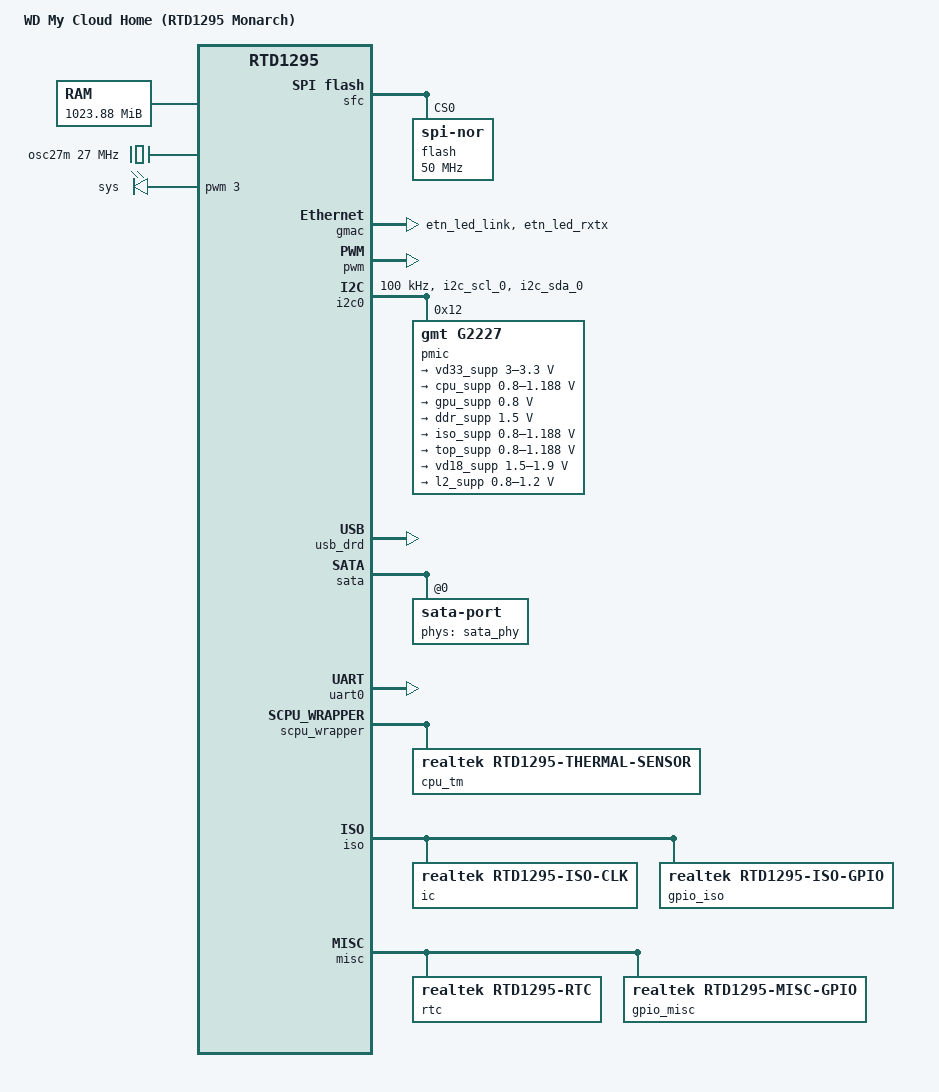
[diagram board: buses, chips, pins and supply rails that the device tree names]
// SPDX-License-Identifier: (GPL-2.0-or-later OR BSD-2-Clause)
/*
 * Western Digital My Cloud Home (single bay) / "Monarch" board
 *
 * Realtek RTD1295 SoC, 1 GiB DDR.
 *
 * Bring-up device tree for the mainline RTD1295 support, derived from the
 * Realtek 4.9 vendor board file (rtd-1295-monarch-1GB.dts). Only the pieces
 * required for a serial console and an externally loaded initramfs are
 * described here; further peripherals are added incrementally.
 *
 * The vendor U-Boot loads:
 *   - the kernel Image at physical 0x00280000 (Image text_offset),
 *   - the ramdisk (rescue.root.sata.cpio.gz_pad.img) at 0x02200000,
 *   - the dtb at a fixed address.
 */

/dts-v1/;

#include <dt-bindings/clock/rtd1295-clk.h>
#include <dt-bindings/reset/realtek,rtd1295.h>
#include <dt-bindings/regulator/gmt,g22xx.h>
#include <dt-bindings/thermal/thermal.h>
#include "rtd1295.dtsi"

/ {
	compatible = "wd,monarch", "realtek,rtd1295";
	model = "WD My Cloud Home (RTD1295 Monarch)";

	aliases {
		serial0 = &uart0;
	};

	chosen {
		stdout-path = "serial0:115200n8";
		/*
		 * earlycon uses the dw-apb UART0 at 0x98007800 (8250 compatible,
		 * 32-bit mmio). ignore_loglevel + loglevel=8 raise the debug
		 * level for bring-up; printk.time=1 keeps boot timestamps in
		 * dmesg.
		 */
		bootargs = "earlycon=uart8250,mmio32,0x98007800 console=ttyS0,115200n8 loglevel=8 ignore_loglevel printk.time=1 init=/init";

		/* Ramdisk loaded by U-Boot to 0x02200000, 4 MiB window. */
		linux,initrd-start = <0x02200000>;
		linux,initrd-end   = <0x02600000>;
	};

	/* 1 GiB, boot ROM (below 0x1f000) excluded from usable RAM. */
	memory@1f000 {
		device_type = "memory";
		reg = <0x1f000 0x3ffe1000>;
	};

	/*
	 * 27 MHz crystal. The ISO I2C controllers are clocked directly from
	 * this oscillator (the CCU only provides an enable gate with no rate),
	 * so the DesignWare driver reads the SCL timing source from here.
	 */
	osc27m: osc27m {
		compatible = "fixed-clock";
		#clock-cells = <0>;
		clock-frequency = <27000000>;
		clock-output-names = "osc27m";
	};

	/* Front-panel system LED, driven by PWM channel 3 (~10 kHz). */
	leds {
		compatible = "pwm-leds";

		led-sys {
			label = "sys";
			pwms = <&pwm 3 100000>;
			max-brightness = <255>;
			linux,default-trigger = "heartbeat";
		};
	};
};

/*
 * Realtek RTD129x interrupt mux. Demultiplexes the MISC (GIC SPI 40) and ISO
 * (GIC SPI 41) interrupt groups. The register windows live inside the misc
 * (0x9801b000) and iso (0x98007000) syscon blocks.
 *
 * The mux now masks all sub-interrupts at probe (the driver clears the
 * hardware enable registers), so bootloader-enabled sources no longer storm
 * the chained parent IRQ. It is needed as the interrupt parent for the GPIO
 * controllers. The ttyS0 console is deliberately *not* routed through it (it
 * stays in polled mode) to avoid the dw-apb UART interrupt-ack problem.
 */
&rbus {
	mux_intc: interrupt-controller@1b000 {
		compatible = "Realtek,rtk-irq-mux";
		reg = <0x1b000 0x100>,	/* MISC */
		      <0x7000 0x100>;	/* ISO */
		Realtek,mux-nr = <2>;
		interrupt-controller;
		#interrupt-cells = <2>;
		interrupt-parent = <&gic>;
		interrupts = <GIC_SPI 40 IRQ_TYPE_LEVEL_HIGH>,
			     <GIC_SPI 41 IRQ_TYPE_LEVEL_HIGH>;
		intr-status = <0xc>, <0x0>;
		intr-en = <0x80>, <0x40>;
		status = "okay";
	};
};

&uart0 {
	/*
	 * Interrupt-driven console, replicating the vendor 4.9 path: UART0 is
	 * ISO interrupt-mux group 1, bit 2. The earlier mux handler bugs (RVD
	 * always-service, whole-word force-ack) that made this storm are fixed,
	 * and the 8250_dw driver clears the dw-apb busy-detect interrupt, so the
	 * console can leave polled mode. (The vendor's extra "interrupts-st-mask"
	 * property is not needed: the mainline mux maps the status bit itself.)
	 */
	interrupt-parent = <&mux_intc>;
	interrupts = <1 2>;
	status = "okay";
};

/*
 * Secondary CPU bring-up. The RTD1295 vendor firmware/U-Boot parks cores 1-3
 * spinning on a 32-bit release register in the SB2 block (0x9801aa44); release
 * them with the Realtek spin-table variant. Without this only CPU0 comes up.
 *
 * All four cores share the SCPU PLL (cc RTD1295_CRT_PLL_SCPU, a settable
 * clk_pll_div) and the g2227 dc2 rail (cpu_supp), so they form a single
 * cpufreq policy (opp-shared) driven by cpufreq-dt against cpu_opps.
 */
&cpu0 {
	enable-method = "rtk-spin-table";
	cpu-release-addr = <0x0 0x9801aa44>;
	clocks = <&cc RTD1295_CRT_PLL_SCPU>;
	operating-points-v2 = <&cpu_opps>;
	cpu-supply = <&cpu_supp>;
	/* cpufreq cooling device for the thermal zone (opp-shared: cpu0 master) */
	#cooling-cells = <2>;
};

&cpu1 {
	enable-method = "rtk-spin-table";
	cpu-release-addr = <0x0 0x9801aa44>;
	clocks = <&cc RTD1295_CRT_PLL_SCPU>;
	operating-points-v2 = <&cpu_opps>;
	cpu-supply = <&cpu_supp>;
};

&cpu2 {
	enable-method = "rtk-spin-table";
	cpu-release-addr = <0x0 0x9801aa44>;
	clocks = <&cc RTD1295_CRT_PLL_SCPU>;
	operating-points-v2 = <&cpu_opps>;
	cpu-supply = <&cpu_supp>;
};

&cpu3 {
	enable-method = "rtk-spin-table";
	cpu-release-addr = <0x0 0x9801aa44>;
	clocks = <&cc RTD1295_CRT_PLL_SCPU>;
	operating-points-v2 = <&cpu_opps>;
	cpu-supply = <&cpu_supp>;
};

/*
 * CPU operating points for DVFS. Frequencies/voltages mirror the vendor
 * rtd-129x-dvfs-v1p0.dtsi (enabled points only); the SCPU PLL realises each
 * via PLL freq x post-divider (e.g. 900 MHz = 1800/2, 300 MHz = 1200/4) and
 * the voltages all fall on g2227 dc2's 12.5 mV grid.
 */
&{/} {
	cpu_opps: opp-table-cpu {
		compatible = "operating-points-v2";
		opp-shared;

		opp-300000000 {
			opp-hz = /bits/ 64 <300000000>;
			opp-microvolt = <800000>;
			clock-latency-ns = <150000>;
		};
		opp-500000000 {
			opp-hz = /bits/ 64 <500000000>;
			opp-microvolt = <800000>;
			clock-latency-ns = <150000>;
		};
		opp-600000000 {
			opp-hz = /bits/ 64 <600000000>;
			opp-microvolt = <825000>;
			clock-latency-ns = <150000>;
		};
		opp-700000000 {
			opp-hz = /bits/ 64 <700000000>;
			opp-microvolt = <850000>;
			clock-latency-ns = <150000>;
		};
		opp-800000000 {
			opp-hz = /bits/ 64 <800000000>;
			opp-microvolt = <875000>;
			clock-latency-ns = <150000>;
		};
		opp-900000000 {
			opp-hz = /bits/ 64 <900000000>;
			opp-microvolt = <900000>;
			clock-latency-ns = <150000>;
		};
		opp-1000000000 {
			opp-hz = /bits/ 64 <1000000000>;
			opp-microvolt = <925000>;
			clock-latency-ns = <150000>;
		};
		opp-1100000000 {
			opp-hz = /bits/ 64 <1100000000>;
			opp-microvolt = <962500>;
			clock-latency-ns = <150000>;
		};
		opp-1200000000 {
			opp-hz = /bits/ 64 <1200000000>;
			opp-microvolt = <1012500>;
			clock-latency-ns = <150000>;
			opp-suspend;
		};
		opp-1300000000 {
			opp-hz = /bits/ 64 <1300000000>;
			opp-microvolt = <1062500>;
			clock-latency-ns = <150000>;
		};
		opp-1400000000 {
			opp-hz = /bits/ 64 <1400000000>;
			opp-microvolt = <1100000>;
			clock-latency-ns = <150000>;
		};
	};
};

/*
 * On-SoC thermal sensor (in the SCPU wrapper at 0x9801d150) and the CPU
 * thermal zone. Two passive trips throttle the CPU through the OPP table via
 * the cpufreq cooling device; the critical trip triggers an orderly shutdown.
 * Trip temperatures mirror the vendor rtd-129x-dvfs-v1p0.dtsi.
 */
&scpu_wrapper {
	cpu_tm: thermal-sensor@150 {
		compatible = "realtek,rtd1295-thermal-sensor";
		reg = <0x150 0x20>;
		#thermal-sensor-cells = <0>;
	};
};

&{/} {
	thermal-zones {
		cpu-thermal {
			polling-delay-passive = <250>;
			polling-delay = <1000>;
			thermal-sensors = <&cpu_tm>;

			trips {
				cpu_alert0: cpu-alert0 {
					temperature = <105000>;
					hysteresis = <3000>;
					type = "passive";
				};
				cpu_alert1: cpu-alert1 {
					temperature = <115000>;
					hysteresis = <3000>;
					type = "passive";
				};
				cpu_crit: cpu-crit {
					temperature = <130000>;
					hysteresis = <2000>;
					type = "critical";
				};
			};

			cooling-maps {
				map0 {
					trip = <&cpu_alert0>;
					cooling-device = <&cpu0 THERMAL_NO_LIMIT THERMAL_NO_LIMIT>;
				};
				map1 {
					trip = <&cpu_alert1>;
					cooling-device = <&cpu0 THERMAL_NO_LIMIT THERMAL_NO_LIMIT>;
				};
			};
		};
	};
};

/*
 * Realtek RTD1295 clock controllers. The CRT (cc) and ISO (ic) controllers
 * live inside the crt (0x98000000) and iso (0x98007000) syscon blocks and
 * provide the gate/PLL clocks for the SoC peripherals. They each also expose
 * an embedded reset controller, but peripherals use the existing reset-simple
 * controllers from rtd129x.dtsi, so these reset providers stay unreferenced.
 *
 * realtek,sb2-lock is intentionally omitted: the SB2 hardware semaphore is
 * only needed to coordinate register access with the (currently idle) audio/
 * video co-processors.
 */
&crt {
	cc: clock-controller {
		compatible = "realtek,rtd1295-crt-clk";
		#clock-cells = <1>;
		#reset-cells = <1>;
	};

	/*
	 * Power-domain controller for the video engines, Mali GPU and NAT
	 * accelerator. None of those blocks has a driver on this NAS, so the
	 * genpd core powers the (unused) domains down at boot, isolating each
	 * island before cutting its SRAM power. This is the safe way to shed
	 * the GPU/VE leakage; cutting the external GPU rail (g2227 dc3)
	 * directly instead hangs the SoC interconnect.
	 */
	pd: power-controller {
		compatible = "realtek,rtd1295-power";
		#power-domain-cells = <1>;
	};
};

&iso {
	ic: clock-controller {
		compatible = "realtek,rtd1295-iso-clk";
		#clock-cells = <1>;
		#reset-cells = <1>;
	};
};

/*
 * Serial Flash Controller for the boot SPI-NOR (holds U-Boot / BL31). Exposed
 * as an spi-mem controller so the generic spi-nor core drives the chip; the
 * flash shows up as an MTD device (e.g. to read the U-Boot environment). The
 * controller drives the flash through a memory-mapped window, so writes to the
 * boot flash are possible - treat the MTD device with care.
 */
&rbus {
	sfc: spi@1a800 {
		compatible = "realtek,rtd1295-sfc";
		reg = <0x1a800 0x50>;
		#address-cells = <1>;
		#size-cells = <0>;

		flash@0 {
			compatible = "jedec,spi-nor";
			reg = <0>;
			spi-max-frequency = <50000000>;
		};
	};
};

/*
 * The remaining RTD1295 pad-mux banks. Each lives in its own register
 * window so it is a separate pinctrl-rtd instance:
 *   SB2  @0x9801a000 (sb2 syscon)  - MISC GPIOs, i2c2-5, SPI, RGMII, TP...
 *   CR   @0x98012000               - SD/eMMC/NAND/SDIO/PCIe pads
 *   DISP @0x9804d000               - audio in/out, SPDIF, DMIC pads
 * They are added for completeness; no consumer wires them yet, so the
 * driver just registers the mux capability (no register access at probe).
 */
&sb2 {
	pinctrl_sb2: pinctrl@0 {
		compatible = "realtek,rtd1295-sb2-pinctrl";
		reg = <0x0 0x97c>;
	};
};

&rbus {
	pinctrl_cr: pinctrl@12000 {
		compatible = "realtek,rtd1295-cr-pinctrl";
		reg = <0x12000 0x640>;
	};

	pinctrl_disp: pinctrl@4d000 {
		compatible = "realtek,rtd1295-disp-pinctrl";
		reg = <0x4d000 0x10>;
	};
};

/* RTC lives in the misc syscon block (0x9801b600). */
&misc {
	rtc: rtc@600 {
		compatible = "realtek,rtd1295-rtc";
		reg = <0x600 0x34>;
		clocks = <&cc RTD1295_CRT_CLK_EN_MISC_RTC>;
	};

	/*
	 * MISC GPIO bank (101 lines). reg[0] = GPIO data registers (0x9801b100),
	 * reg[1] = GPIO interrupt registers (0x9801b000, shared with the misc
	 * syscon/mux window - mapped non-exclusively by the driver). The
	 * assert/deassert interrupts are MISC mux group 0 bits 19 (GPIOA) and
	 * 20 (GPIODA). The ISO bank is added separately once this is validated.
	 */
	gpio_misc: gpio@100 {
		compatible = "realtek,rtd1295-misc-gpio";
		reg = <0x100 0x100>, <0x0 0x100>;
		interrupt-parent = <&mux_intc>;
		interrupts = <0 19>, <0 20>;
		gpio-controller;
		#gpio-cells = <2>;
		interrupt-controller;
		#interrupt-cells = <2>;
	};
};

/*
 * ISO GPIO bank (35 lines, gpio base 101). reg[0] = GPIO data registers
 * (0x98007100), reg[1] = GPIO interrupt registers (0x98007000). reg[1] is
 * the base of the ISO syscon and overlaps iso_reset@88 and the UART reset
 * line; the gpio-rtd driver maps it non-exclusively so they coexist.
 * Interrupts are ISO mux group 1 bits 19 (GPIOA) and 20 (GPIODA).
 */
&iso {
	/*
	 * ISO pad mux controller. The RTD1295 pin mux/config registers for
	 * the ISO bank live at 0x98007300..0x98007320; map the start of the
	 * ISO block (reg 0x0) so the driver's mux offsets (0x310/0x314/0x31c)
	 * are used verbatim. Non-exclusive of_iomap, so it coexists with the
	 * other ISO-window consumers.
	 */
	pinctrl: pinctrl@0 {
		compatible = "realtek,rtd1295-iso-pinctrl";
		reg = <0x0 0x400>;

		i2c0_pins: i2c0-pins {
			function = "i2c0";
			groups = "i2c_scl_0", "i2c_sda_0";
		};

		/*
		 * Ethernet activity/link LEDs. The MAC drives two LED outputs
		 * (etn_led_link, etn_led_rxtx) but the pads default to GPIO, so
		 * only one physical LED lit up. Mux both to the etn_led function
		 * (matching the vendor etn_led_pins group) so the MAC LEDSEL
		 * config reaches the front-panel LEDs.
		 */
		etn_led_pins: etn-led-pins {
			function = "etn_led";
			groups = "etn_led_link", "etn_led_rxtx";
		};
	};

	gpio_iso: gpio@100 {
		compatible = "realtek,rtd1295-iso-gpio";
		reg = <0x100 0x100>, <0x0 0x100>;
		interrupt-parent = <&mux_intc>;
		interrupts = <1 19>, <1 20>;
		gpio-controller;
		#gpio-cells = <2>;
		interrupt-controller;
		#interrupt-cells = <2>;
	};
};

/*
 * On-SoC gigabit Ethernet (RTL8169-derived MAC + embedded PHY).
 * reg[0] = MAC, reg[1] = ISO syscon (PHY/PLL control). IRQ is a direct GIC
 * SPI (not via the interrupt mux). Clocks/resets come from the ISO clock
 * controller. Monarch uses the on-chip PHY (output-mode 0).
 */
&rbus {
	gmac: ethernet@16000 {
		compatible = "realtek,rtd1295-gmac";
		reg = <0x16000 0x1000>,	/* MAC */
		      <0x7000 0x1000>;	/* ISO syscon */
		interrupt-parent = <&gic>;
		interrupts = <GIC_SPI 22 IRQ_TYPE_LEVEL_HIGH>;
		clocks = <&ic RTD1295_ISO_CLK_EN_ETN_SYS>,
			 <&ic RTD1295_ISO_CLK_EN_ETN_250M>;
		clock-names = "etn_sys", "etn_250m";
		/* ISO reset-simple controller (rtd129x.dtsi), bits GMAC=9 GPHY=10 */
		resets = <&iso_reset RTD1295_ISO_RSTN_GMAC>,
			 <&iso_reset RTD1295_ISO_RSTN_GPHY>;
		reset-names = "gmac", "gphy";
		pinctrl-names = "default";
		pinctrl-0 = <&etn_led_pins>;
		status = "okay";
	};

	/*
	 * PWM controller (4 channels), at 0x980070d0 within the ISO block.
	 * Channel 3 drives the front-panel system LED. The register window
	 * overlaps the non-exclusively-mapped ISO GPIO interrupt window, which
	 * is harmless.
	 */
	pwm: pwm@70d0 {
		compatible = "realtek,rtd1295-pwm";
		reg = <0x70d0 0xc>;
		#pwm-cells = <2>;
	};

	/*
	 * I2C bus 0 (ISO block, 0x98007d00). The RTD1295 I2C controller is a
	 * Synopsys DesignWare APB I2C, so the mainline i2c-designware driver
	 * drives it directly. The g2227 PMIC that controls the CPU/GPU/DDR
	 * rails hangs off this bus at 7-bit address 0x12; U-Boot already talks
	 * to it here, so the pads and the ISO i2c0 clock gate are left as the
	 * firmware set them. The functional clock is the 27 MHz crystal; the
	 * interrupt is ISO mux group 1, bit 8.
	 */
	i2c0: i2c@7d00 {
		compatible = "snps,designware-i2c";
		reg = <0x7d00 0x100>;
		interrupt-parent = <&mux_intc>;
		interrupts = <1 8>;
		clocks = <&osc27m>;
		clock-frequency = <100000>;
		resets = <&iso_reset RTD1295_ISO_RSTN_I2C_0>;
		pinctrl-names = "default";
		pinctrl-0 = <&i2c0_pins>;
		#address-cells = <1>;
		#size-cells = <0>;
		status = "okay";

		/*
		 * GMT G2227 PMIC. Supplies the SCPU (dc2), GPU (dc3), DDR
		 * (dc4) and other RTD1295 rails. All rails are marked
		 * always-on: firmware brings them up and several (vd33, ddr,
		 * iso, top) are critical, so the regulator core must not gate
		 * them as "unused". The cpu-supply/OPP wiring for DVFS is added
		 * in a later step; for now this just registers the regulators.
		 * Rail constraints mirror the vendor rtd-129x-dvfs-v1p0.dtsi.
		 */
		pmic: pmic@12 {
			compatible = "gmt,g2227";
			reg = <0x12>;

			regulators {
				compatible = "gmt,g2227-regulator";

				vd33_supp: dc1 {
					regulator-name = "vd33";
					regulator-min-microvolt = <3000000>;
					regulator-max-microvolt = <3300000>;
					regulator-boot-on;
					regulator-always-on;
					regulator-initial-mode = <G22XX_DC_MODE_FORCE_PWM>;
				};

				cpu_supp: dc2 {
					regulator-name = "cpudvs";
					regulator-min-microvolt = <800000>;
					regulator-max-microvolt = <1187500>;
					regulator-boot-on;
					regulator-always-on;
					regulator-initial-mode = <G22XX_DC_MODE_AUTO>;
				};

				gpu_supp: dc3 {
					regulator-name = "gpudvs";
					/*
					 * The GPU island is held powered-off via
					 * genpd, so nothing scales this rail.
					 * Pin it to the 0.8 V minimum (instead of
					 * the firmware default 1.0 V) to shave the
					 * isolated island's leakage. Keep it
					 * always-on: cutting dc3 outright halts the
					 * SoC.
					 */
					regulator-min-microvolt = <800000>;
					regulator-max-microvolt = <800000>;
					regulator-boot-on;
					regulator-always-on;
					regulator-initial-mode = <G22XX_DC_MODE_AUTO>;
					regulator-ramp-delay = <625>;
				};

				ddr_supp: dc4 {
					regulator-name = "ddr";
					regulator-min-microvolt = <1500000>;
					regulator-max-microvolt = <1500000>;
					regulator-boot-on;
					regulator-always-on;
					regulator-initial-mode = <G22XX_DC_MODE_AUTO>;
				};

				iso_supp: dc5 {
					regulator-name = "iso";
					regulator-min-microvolt = <800000>;
					regulator-max-microvolt = <1187500>;
					regulator-boot-on;
					regulator-always-on;
					regulator-initial-mode = <G22XX_DC_MODE_AUTO>;
				};

				top_supp: dc6 {
					regulator-name = "top";
					regulator-min-microvolt = <800000>;
					regulator-max-microvolt = <1187500>;
					regulator-boot-on;
					regulator-always-on;
					regulator-initial-mode = <G22XX_DC_MODE_AUTO>;
				};

				vd18_supp: ldo2 {
					regulator-name = "ldo2";
					regulator-min-microvolt = <1500000>;
					regulator-max-microvolt = <1900000>;
					regulator-boot-on;
					regulator-always-on;
					regulator-initial-mode = <G22XX_LDO_MODE_NORMAL>;
				};

				l2_supp: ldo3 {
					regulator-name = "ldo3";
					regulator-min-microvolt = <800000>;
					regulator-max-microvolt = <1200000>;
					regulator-boot-on;
					regulator-always-on;
					regulator-initial-mode = <G22XX_LDO_MODE_NORMAL>;
				};
			};
		};
	};

	/*
	 * USB: the RTD1295 DRD/OTG port, driven in host mode by the mainline
	 * dwc3-rtk wrapper + dwc3 core + Realtek USB2/USB3 phys. Register layout
	 * mapped from the vendor rtd-129x-usb.dtsi (DRD group):
	 *   wrapper   0x98013200, dwc3 core 0x98020000 (IRQ GIC SPI 21),
	 *   usb2phy   data 0x98028280 / control 0x98013214,
	 *   usb3phy   0x98013210.
	 * Clocks/resets are left to the firmware-on state (clk_ignore_unused);
	 * VBUS for this port is normally controlled by the Realtek USB power
	 * manager GPIO, not yet ported -- self-powered devices/hubs should still
	 * enumerate.
	 */
	usb2phy: usb-phy@28280 {
		compatible = "realtek,rtd1295-usb2phy";
		reg = <0x28280 0x4>,	/* PHY data */
		      <0x13214 0x4>;	/* PHY control */
		#phy-cells = <0>;
	};

	usb3phy: usb-phy@13210 {
		compatible = "realtek,rtd1295-usb3phy";
		reg = <0x13210 0x4>;
		#phy-cells = <0>;
	};

	usb_drd: usb@13200 {
		compatible = "realtek,rtd1295-dwc3", "realtek,rtd-dwc3";
		reg = <0x13200 0x200>;
		#address-cells = <1>;
		#size-cells = <1>;
		ranges;

		/*
		 * Cold-init resources so USB works when U-Boot boots from SATA
		 * without running "usb start": the USB clock gate, the port-0
		 * controller/PHY resets (all in soft-reset-1), and the ISO
		 * syscon holding the USB SRAM/power-gating registers.
		 */
		clocks = <&cc RTD1295_CRT_CLK_EN_USB>;
		resets = <&reset1 RTD1295_RSTN_USB>,
			 <&reset1 RTD1295_RSTN_USB_PHY0>,
			 <&reset1 RTD1295_RSTN_USB3_PHY0_POW>,
			 <&reset1 RTD1295_RSTN_USB3_P0_MDIO>;
		reset-names = "usb", "u2phy0", "u3phy0", "u3mdio0";
		realtek,iso = <&iso>;

		dwc3@20000 {
			compatible = "snps,dwc3";
			reg = <0x20000 0x9000>;
			interrupt-parent = <&gic>;
			interrupts = <GIC_SPI 21 IRQ_TYPE_LEVEL_HIGH>;
			phys = <&usb2phy>, <&usb3phy>;
			phy-names = "usb2-phy", "usb3-phy";
			dr_mode = "host";
			snps,dis_u2_susphy_quirk;
			snps,parkmode-disable-ss-quirk;
			snps,parkmode-disable-hs-quirk;
		};
	};

	/*
	 * SATA: AHCI host + Realtek SATA PHY (single port). The board boots
	 * from this disk via U-Boot, so the drive is already powered when Linux
	 * starts; the vendor disk-power GPIO is not wired here.
	 *
	 * Resets come from the CRT (cc) embedded reset controller. The reset
	 * cell is the vendor bank<<8|bit index: SATA_0 = 0x05, SATA_PHY_0 =
	 * 0x07, SATA_PHY_POW_0 = 0x0a (all in CRT reset bank 0, reg 0x00).
	 */
	sata_phy: sata-phy@3ff00 {
		compatible = "Realtek,rtk-sata-phy";
		reg = <0x3ff00 0x100>,	/* SATA MDIO */
		      <0x1a980 0x10>;	/* SB2 */
		#address-cells = <1>;
		#size-cells = <0>;
		#phy-cells = <1>;
		status = "okay";

		sata-phy@0 {
			reg = <0>;
			resets = <&cc 0x0a>;	/* RSTN_SATA_PHY_POW_0 */
			reset-names = "rstn_sata_phy_pow_0";
			spread-spectrum = <0>;
			tx-driving = <2>;
			phy-param = <0x00001111>, <0x00005111>, <0x00009111>,
				    <0x336a0511>, <0x336a4511>, <0x336a8511>,
				    <0xe0700111>, <0xe05c4111>, <0xe04a8111>,
				    <0x00150611>, <0x00154611>, <0x00158611>,
				    <0xc6000a11>, <0xc6004a11>, <0xc6008a11>,
				    <0x70000211>, <0x70004211>, <0x70008211>,
				    <0xc6600a11>, <0xc6604a11>, <0xc6608a11>,
				    <0x20041911>, <0x20045911>, <0x20049911>,
				    <0x94aa2011>, <0x94aa6011>, <0x94aaa011>,
				    <0x17171511>, <0x17175511>, <0x17179511>,
				    <0x07701611>, <0x07705611>, <0x07709611>,
				    <0x00002a11>, <0x00006a11>, <0x0000aa11>,
				    <0x27710311>, <0x27684311>, <0x27648311>,
				    <0x29001011>, <0x29005011>, <0x29009011>,
				    <0xc0000c11>, <0xc0004c11>, <0xc0008c11>,
				    <0x00271711>, <0x00275711>, <0x00279711>;
			tx-driving-tbl = <0x94a72011>, <0x94a76011>, <0x94a7a011>,
					 <0x487a2111>, <0x487a6111>, <0x487aa111>;
			rx-sense-tbl = <0x72100911>, <0x72104911>, <0x72108911>,
				       <0x27750311>, <0x276e4311>, <0x276c8311>;
		};
	};

	sata: sata@3f000 {
		compatible = "realtek,rtd1295-ahci";
		reg = <0x3f000 0x1000>;
		interrupt-parent = <&gic>;
		interrupts = <GIC_SPI 28 IRQ_TYPE_LEVEL_HIGH>;
		clocks = <&cc RTD1295_CRT_CLK_EN_SATA_0>,
			 <&cc RTD1295_CRT_CLK_EN_SATA_ALIVE_0>;
		resets = <&cc 0x05>,	/* RSTN_SATA_0 */
			 <&cc 0x07>;	/* RSTN_SATA_PHY_0 */
		#address-cells = <1>;
		#size-cells = <0>;
		status = "okay";

		sata-port@0 {
			reg = <0>;
			phys = <&sata_phy 0>;
		};
	};
};
